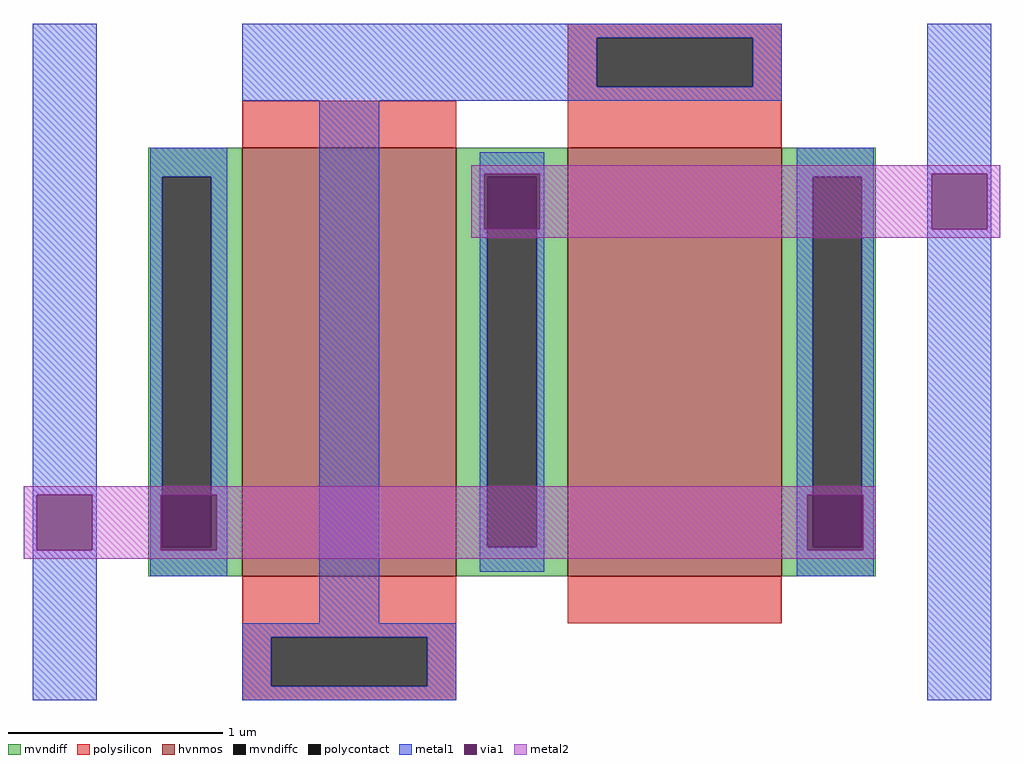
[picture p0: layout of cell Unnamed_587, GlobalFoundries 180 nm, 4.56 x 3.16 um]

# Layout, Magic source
magic
tech gf180mcuD
magscale 1 10
<< hvnmos >>
rect 14 0 214 400
rect 318 0 518 400
<< mvndiff >>
rect -74 373 14 400
rect -74 27 -61 373
rect -15 27 14 373
rect -74 0 14 27
rect 214 373 318 400
rect 214 27 243 373
rect 289 27 318 373
rect 214 0 318 27
rect 518 373 606 400
rect 518 27 547 373
rect 593 27 606 373
rect 518 0 606 27
<< mvndiffc >>
rect -61 27 -15 373
rect 243 27 289 373
rect 547 27 593 373
<< polysilicon >>
rect 318 503 518 516
rect 318 457 345 503
rect 491 457 518 503
rect 14 400 214 444
rect 318 400 518 457
rect 14 -57 214 0
rect 318 -44 518 0
rect 14 -103 41 -57
rect 187 -103 214 -57
rect 14 -116 214 -103
<< polycontact >>
rect 345 457 491 503
rect 41 -103 187 -57
<< metal1 >>
rect -182 76 -122 516
rect 14 503 518 516
rect 14 457 345 503
rect 491 457 518 503
rect 14 444 518 457
rect -182 24 -178 76
rect -126 24 -122 76
rect -182 -116 -122 24
rect -72 373 0 400
rect -72 76 -61 373
rect -15 76 0 373
rect -72 24 -62 76
rect -10 24 0 76
rect -72 0 0 24
rect 86 -44 142 444
rect 236 376 296 396
rect 236 324 240 376
rect 292 324 296 376
rect 236 27 243 324
rect 289 27 296 324
rect 236 4 296 27
rect 532 373 604 400
rect 532 76 547 373
rect 593 76 604 373
rect 532 24 542 76
rect 594 24 604 76
rect 532 0 604 24
rect 654 376 714 516
rect 654 324 658 376
rect 710 324 714 376
rect 14 -57 214 -44
rect 14 -103 41 -57
rect 187 -103 214 -57
rect 14 -116 214 -103
rect 654 -116 714 324
<< via1 >>
rect -178 24 -126 76
rect -62 27 -61 76
rect -61 27 -15 76
rect -15 27 -10 76
rect -62 24 -10 27
rect 240 373 292 376
rect 240 324 243 373
rect 243 324 289 373
rect 289 324 292 373
rect 542 27 547 76
rect 547 27 593 76
rect 593 27 594 76
rect 542 24 594 27
rect 658 324 710 376
<< metal2 >>
rect 228 376 722 384
rect 228 324 240 376
rect 292 324 658 376
rect 710 324 722 376
rect 228 316 722 324
rect -190 76 606 84
rect -190 24 -178 76
rect -126 24 -62 76
rect -10 24 542 76
rect 594 24 606 76
rect -190 16 606 24
<< end >>
